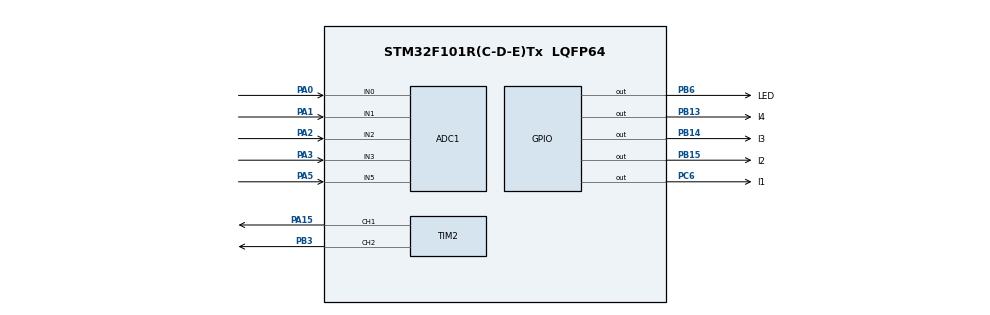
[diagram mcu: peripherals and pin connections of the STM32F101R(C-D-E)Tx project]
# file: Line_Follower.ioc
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ADC1.Channel-0\#ChannelRegularConversion=ADC_CHANNEL_0
ADC1.Channel-1\#ChannelRegularConversion=ADC_CHANNEL_1
ADC1.Channel-2\#ChannelRegularConversion=ADC_CHANNEL_2
ADC1.Channel-3\#ChannelRegularConversion=ADC_CHANNEL_3
ADC1.Channel-4\#ChannelRegularConversion=ADC_CHANNEL_5
ADC1.ContinuousConvMode=ENABLE
ADC1.NbrOfConversion=5
ADC1.NbrOfConversionFlag=1
ADC1.Rank-0\#ChannelRegularConversion=1
ADC1.Rank-1\#ChannelRegularConversion=2
ADC1.Rank-2\#ChannelRegularConversion=3
ADC1.Rank-3\#ChannelRegularConversion=4
ADC1.Rank-4\#ChannelRegularConversion=5
ADC1.SamplingTime-0\#ChannelRegularConversion=ADC_SAMPLETIME_28CYCLES_5
ADC1.SamplingTime-1\#ChannelRegularConversion=ADC_SAMPLETIME_28CYCLES_5
ADC1.SamplingTime-2\#ChannelRegularConversion=ADC_SAMPLETIME_28CYCLES_5
ADC1.SamplingTime-3\#ChannelRegularConversion=ADC_SAMPLETIME_28CYCLES_5
ADC1.SamplingTime-4\#ChannelRegularConversion=ADC_SAMPLETIME_28CYCLES_5
ADC1.master=1
Dma.ADC1.0.Direction=DMA_PERIPH_TO_MEMORY
Dma.ADC1.0.Instance=DMA1_Channel1
Dma.ADC1.0.MemDataAlignment=DMA_MDATAALIGN_HALFWORD
Dma.ADC1.0.MemInc=DMA_MINC_ENABLE
Dma.ADC1.0.Mode=DMA_CIRCULAR
Dma.ADC1.0.PeriphDataAlignment=DMA_PDATAALIGN_HALFWORD
Dma.ADC1.0.PeriphInc=DMA_PINC_DISABLE
Dma.ADC1.0.Priority=DMA_PRIORITY_LOW
Dma.Request0=ADC1
Mcu.Family=STM32F1
Mcu.Name=STM32F101R(C-D-E)Tx
Mcu.Package=LQFP64
NVIC.ADC1_IRQn=true\:0\:0\:false\:false\:true\:true\:true\:true
NVIC.DMA1_Channel1_IRQn=true\:0\:0\:false\:false\:true\:false\:true\:true
NVIC.PriorityGroup=NVIC_PRIORITYGROUP_4
PA0-WKUP.Signal=ADCx_IN0
PA1.Signal=ADCx_IN1
PA13.Mode=Serial_Wire
PA13.Signal=SYS_JTMS-SWDIO
PA14.Mode=Serial_Wire
PA14.Signal=SYS_JTCK-SWCLK
PA15.Signal=S_TIM2_CH1_ETR
PA2.Signal=ADCx_IN2
PA3.Signal=ADCx_IN3
PA5.Signal=ADCx_IN5
PB13.GPIO_Label=I4
PB13.Signal=GPIO_Output
PB14.GPIO_Label=I3
PB14.Signal=GPIO_Output
PB15.GPIO_Label=I2
PB15.Signal=GPIO_Output
PB3.Signal=S_TIM2_CH2
PB6.GPIO_Label=LED
PB6.Signal=GPIO_Output
PC6.GPIO_Label=I1
PC6.Signal=GPIO_Output
ProjectManager.HeapSize=0x200
ProjectManager.StackSize=0x400
ProjectManager.TargetToolchain=STM32CubeIDE
RCC.APB1Freq_Value=8000000
RCC.APB2Freq_Value=8000000
SH.ADCx_IN0.0=ADC1_IN0,IN0
SH.ADCx_IN1.0=ADC1_IN1,IN1
SH.ADCx_IN2.0=ADC1_IN2,IN2
SH.ADCx_IN3.0=ADC1_IN3,IN3
SH.ADCx_IN5.0=ADC1_IN5,IN5
SH.S_TIM2_CH1_ETR.0=TIM2_CH1,PWM Generation1 CH1
SH.S_TIM2_CH2.0=TIM2_CH2,PWM Generation2 CH2
TIM2.AutoReloadPreload=TIM_AUTORELOAD_PRELOAD_ENABLE
TIM2.Channel-PWM\ Generation1\ CH1=TIM_CHANNEL_1
TIM2.Channel-PWM\ Generation2\ CH2=TIM_CHANNEL_2
VP_TIM2_VS_ClockSourceINT.Mode=Internal
board=custom

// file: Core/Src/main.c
/* USER CODE BEGIN Header */
/**
  ******************************************************************************
  * @file           : main.c
  * @brief          : Main program body
  ******************************************************************************
  * @attention
  *
  * <h2><center>&copy; Copyright (c) 2022 STMicroelectronics.
  * All rights reserved.</center></h2>
  *
  * This software component is licensed by ST under BSD 3-Clause license,
  * the "License"; You may not use this file except in compliance with the
  * License. You may obtain a copy of the License at:
  *                        opensource.org/licenses/BSD-3-Clause
  *
  ******************************************************************************
  */
/* USER CODE END Header */
#include "main.h"

/* USER CODE BEGIN PTD */
#define PWM_MAX 10000/*65535*/

/* USER CODE END PTD */

ADC_HandleTypeDef hadc1;
DMA_HandleTypeDef hdma_adc1;

TIM_HandleTypeDef htim2;
int debug = 1;

void SystemClock_Config(void);
static void MX_GPIO_Init(void);
static void MX_ADC1_Init(void);
static void MX_DMA_Init(void);
static void MX_TIM2_Init(void);
/* USER CODE BEGIN PFP */

float measurement;
float pid_output;
/* USER CODE END PFP */

/* USER CODE BEGIN 0 */

uint16_t volatile adc[5];
//int setpoint = 0;

float 	fbPosition()
{

    		measurement  = -2.0 * 	(float)adc[0];
    		measurement += -1.0 * 	(float)adc[1];
    		measurement +=  1.0 * 	(float)adc[3];
    		measurement +=  2.0 *	(float)adc[4];
	return 	measurement;
}

typedef struct {
	float Kp;
	float Kd;

	float prevError;
	float differentiator;
	float prevMeasurement;

	float out;

}PIDController;

PIDController pid;

void 	PIDController_Init(PIDController *pid)
{
	pid->prevError  = 0.0f;

	pid->differentiator  = 0.0f;
	pid->prevMeasurement = 0.0f;

	pid->out = 0.0f;

	pid->Kp = 6.0;
	pid->Kd = 1.0;
}
float 	PIDController_Update(PIDController *pid, float setpoint, float fbPosition)
{
	float error = setpoint - fbPosition;

    pid->differentiator = pid->Kd*(error-pid->prevError);

	pid->out = pid->Kp * error + pid->differentiator;

	pid->prevError = error;
	pid->prevMeasurement = fbPosition;

    return pid->out;
}

int leftMotor(float leftPWM)// PID output
{

	if( leftPWM < -16000){
	HAL_GPIO_WritePin(I1_GPIO_Port, I1_Pin, GPIO_PIN_RESET);
	HAL_GPIO_WritePin(I2_GPIO_Port, I2_Pin, GPIO_PIN_SET);
	leftPWM = -0.1 * (PWM_MAX - leftPWM);
	if( PWM_MAX < leftPWM) leftPWM = 0.1* PWM_MAX;
	if(-PWM_MAX > leftPWM) leftPWM = -0.1* PWM_MAX;

	}else{
	HAL_GPIO_WritePin(I1_GPIO_Port, I1_Pin, GPIO_PIN_SET);
	HAL_GPIO_WritePin(I2_GPIO_Port, I2_Pin, GPIO_PIN_RESET);
	leftPWM = PWM_MAX - leftPWM;
	if( PWM_MAX < leftPWM) leftPWM =  PWM_MAX;
	if(-PWM_MAX > leftPWM) leftPWM = -PWM_MAX;
	}

	return (int)leftPWM;
}

int rightMotor(float rightPWM)
{
	if( leftPWM > 16000){
	HAL_GPIO_WritePin(I1_GPIO_Port, I4_Pin, GPIO_PIN_RESET);
	HAL_GPIO_WritePin(I2_GPIO_Port, I3_Pin, GPIO_PIN_SET);
	rightPWM = -0.1 * (PWM_MAX - rightPWM);
	if( PWM_MAX < rightPWM) rightPWM = 0.1* PWM_MAX;
	if(-PWM_MAX > rightPWM) rightPWM = -0.1* PWM_MAX;

	}else{
	HAL_GPIO_WritePin(I1_GPIO_Port, I4_Pin, GPIO_PIN_SET);
	HAL_GPIO_WritePin(I2_GPIO_Port, I3_Pin, GPIO_PIN_RESET);
	rightPWM = PWM_MAX + rightPWM;
	if( PWM_MAX < rightPWM) rightPWM =  PWM_MAX;
	if(-PWM_MAX > rightPWM) rightPWM = -PWM_MAX;
	}

	return (int)rightPWM;
}

void motors(int leftMotor, int rightMotor)
{
	__HAL_TIM_SET_COMPARE(&htim2, TIM_CHANNEL_1, leftMotor);
	__HAL_TIM_SET_COMPARE(&htim2, TIM_CHANNEL_2, rightMotor);
}
/* USER CODE END 0 */

int main(void)
{

  /* MCU Configuration--------------------------------------------------------*/

  /* Reset of all peripherals, Initializes the Flash interface and the Systick. */
  HAL_Init();

  /* Configure the system clock */
  SystemClock_Config();

  /* Initialize all configured peripherals */
  MX_GPIO_Init();
  MX_ADC1_Init();
  MX_DMA_Init();
  MX_TIM2_Init();
  /* USER CODE BEGIN 2 */
  HAL_DMA_Init(&hdma_adc1);
  HAL_ADC_Start_DMA(&hadc1, (uint32_t*) adc, 5);
  HAL_ADC_Start(&hadc1);
  HAL_TIM_Base_Start(&htim2);
  HAL_TIM_PWM_Start(&htim2, TIM_CHANNEL_1);
  HAL_TIM_PWM_Start(&htim2, TIM_CHANNEL_2);
  PIDController_Init(&pid);
  /* USER CODE END 2 */

  /* Infinite loop */
  /* USER CODE BEGIN WHILE */
  while (1)
  {
	 HAL_GPIO_WritePin(LED_GPIO_Port, LED_Pin, GPIO_PIN_RESET);
	 float pid_output = PIDController_Update(&pid, 0.0, fbPosition());
	 if (debug == 1)  motors(leftMotor(pid_output),rightMotor(pid_output));

    /* USER CODE END WHILE */

  }
}

void SystemClock_Config(void)
{
  RCC_OscInitTypeDef RCC_OscInitStruct = {0};
  RCC_ClkInitTypeDef RCC_ClkInitStruct = {0};
  RCC_PeriphCLKInitTypeDef PeriphClkInit = {0};

  /** Initializes the RCC Oscillators according to the specified parameters
  * in the RCC_OscInitTypeDef structure.
  */
  RCC_OscInitStruct.OscillatorType = RCC_OSCILLATORTYPE_HSI;
  RCC_OscInitStruct.HSIState = RCC_HSI_ON;
  RCC_OscInitStruct.HSICalibrationValue = RCC_HSICALIBRATION_DEFAULT;
  RCC_OscInitStruct.PLL.PLLState = RCC_PLL_NONE;
  if (HAL_RCC_OscConfig(&RCC_OscInitStruct) != HAL_OK)
  {
    Error_Handler();
  }

  /** Initializes the CPU, AHB and APB buses clocks
  */
  RCC_ClkInitStruct.ClockType = RCC_CLOCKTYPE_HCLK|RCC_CLOCKTYPE_SYSCLK
                              |RCC_CLOCKTYPE_PCLK1|RCC_CLOCKTYPE_PCLK2;
  RCC_ClkInitStruct.SYSCLKSource = RCC_SYSCLKSOURCE_HSI;
  RCC_ClkInitStruct.AHBCLKDivider = RCC_SYSCLK_DIV1;
  RCC_ClkInitStruct.APB1CLKDivider = RCC_HCLK_DIV1;
  RCC_ClkInitStruct.APB2CLKDivider = RCC_HCLK_DIV1;

  if (HAL_RCC_ClockConfig(&RCC_ClkInitStruct, FLASH_LATENCY_0) != HAL_OK)
  {
    Error_Handler();
  }
  PeriphClkInit.PeriphClockSelection = RCC_PERIPHCLK_ADC;
  PeriphClkInit.AdcClockSelection = RCC_ADCPCLK2_DIV2;
  if (HAL_RCCEx_PeriphCLKConfig(&PeriphClkInit) != HAL_OK)
  {
    Error_Handler();
  }
}

static void MX_ADC1_Init(void)
{

  ADC_ChannelConfTypeDef sConfig = {0};

  /** Common config
  */
  hadc1.Instance = ADC1;
  hadc1.Init.ScanConvMode = ADC_SCAN_ENABLE;
  hadc1.Init.ContinuousConvMode = ENABLE;
  hadc1.Init.DiscontinuousConvMode = DISABLE;
  hadc1.Init.ExternalTrigConv = ADC_SOFTWARE_START;
  hadc1.Init.DataAlign = ADC_DATAALIGN_RIGHT;
  hadc1.Init.NbrOfConversion = 5;
  if (HAL_ADC_Init(&hadc1) != HAL_OK)
  {
    Error_Handler();
  }

  /** Configure Regular Channel
  */
  sConfig.Channel = ADC_CHANNEL_0;
  sConfig.Rank = ADC_REGULAR_RANK_1;
  sConfig.SamplingTime = ADC_SAMPLETIME_28CYCLES_5;
  if (HAL_ADC_ConfigChannel(&hadc1, &sConfig) != HAL_OK)
  {
    Error_Handler();
  }

  /** Configure Regular Channel
  */
  sConfig.Channel = ADC_CHANNEL_1;
  sConfig.Rank = ADC_REGULAR_RANK_2;
  if (HAL_ADC_ConfigChannel(&hadc1, &sConfig) != HAL_OK)
  {
    Error_Handler();
  }

  /** Configure Regular Channel
  */
  sConfig.Channel = ADC_CHANNEL_2;
  sConfig.Rank = ADC_REGULAR_RANK_3;
  if (HAL_ADC_ConfigChannel(&hadc1, &sConfig) != HAL_OK)
  {
    Error_Handler();
  }

  /** Configure Regular Channel
  */
  sConfig.Channel = ADC_CHANNEL_3;
  sConfig.Rank = ADC_REGULAR_RANK_4;
  if (HAL_ADC_ConfigChannel(&hadc1, &sConfig) != HAL_OK)
  {
    Error_Handler();
  }

  /** Configure Regular Channel
  */
  sConfig.Channel = ADC_CHANNEL_5;
  sConfig.Rank = ADC_REGULAR_RANK_5;
  if (HAL_ADC_ConfigChannel(&hadc1, &sConfig) != HAL_OK)
  {
    Error_Handler();
  }

}

static void MX_TIM2_Init(void)
{

  TIM_ClockConfigTypeDef sClockSourceConfig = {0};
  TIM_MasterConfigTypeDef sMasterConfig = {0};
  TIM_OC_InitTypeDef sConfigOC = {0};

  htim2.Instance = TIM2;
  htim2.Init.Prescaler = 0;
  htim2.Init.CounterMode = TIM_COUNTERMODE_UP;
  htim2.Init.Period = 65535;
  htim2.Init.ClockDivision = TIM_CLOCKDIVISION_DIV1;
  htim2.Init.AutoReloadPreload = TIM_AUTORELOAD_PRELOAD_ENABLE;
  if (HAL_TIM_Base_Init(&htim2) != HAL_OK)
  {
    Error_Handler();
  }
  sClockSourceConfig.ClockSource = TIM_CLOCKSOURCE_INTERNAL;
  if (HAL_TIM_ConfigClockSource(&htim2, &sClockSourceConfig) != HAL_OK)
  {
    Error_Handler();
  }
  if (HAL_TIM_PWM_Init(&htim2) != HAL_OK)
  {
    Error_Handler();
  }
  sMasterConfig.MasterOutputTrigger = TIM_TRGO_RESET;
  sMasterConfig.MasterSlaveMode = TIM_MASTERSLAVEMODE_DISABLE;
  if (HAL_TIMEx_MasterConfigSynchronization(&htim2, &sMasterConfig) != HAL_OK)
  {
    Error_Handler();
  }
  sConfigOC.OCMode = TIM_OCMODE_PWM1;
  sConfigOC.Pulse = 0;
  sConfigOC.OCPolarity = TIM_OCPOLARITY_HIGH;
  sConfigOC.OCFastMode = TIM_OCFAST_DISABLE;
  if (HAL_TIM_PWM_ConfigChannel(&htim2, &sConfigOC, TIM_CHANNEL_1) != HAL_OK)
  {
    Error_Handler();
  }
  if (HAL_TIM_PWM_ConfigChannel(&htim2, &sConfigOC, TIM_CHANNEL_2) != HAL_OK)
  {
    Error_Handler();
  }
  HAL_TIM_MspPostInit(&htim2);

}

static void MX_DMA_Init(void)
{

  /* DMA controller clock enable */
  __HAL_RCC_DMA1_CLK_ENABLE();

  /* DMA interrupt init */
  /* DMA1_Channel1_IRQn interrupt configuration */
  HAL_NVIC_SetPriority(DMA1_Channel1_IRQn, 0, 0);
  HAL_NVIC_EnableIRQ(DMA1_Channel1_IRQn);

}

static void MX_GPIO_Init(void)
{
  GPIO_InitTypeDef GPIO_InitStruct = {0};

  /* GPIO Ports Clock Enable */
  __HAL_RCC_GPIOA_CLK_ENABLE();
  __HAL_RCC_GPIOB_CLK_ENABLE();
  __HAL_RCC_GPIOC_CLK_ENABLE();

  /*Configure GPIO pin Output Level */
  HAL_GPIO_WritePin(GPIOB, I4_Pin|I3_Pin|I2_Pin|LED_Pin, GPIO_PIN_RESET);

  /*Configure GPIO pin Output Level */
  HAL_GPIO_WritePin(I1_GPIO_Port, I1_Pin, GPIO_PIN_RESET);

  /*Configure GPIO pins : I4_Pin I3_Pin I2_Pin LED_Pin */
  GPIO_InitStruct.Pin = I4_Pin|I3_Pin|I2_Pin|LED_Pin;
  GPIO_InitStruct.Mode = GPIO_MODE_OUTPUT_PP;
  GPIO_InitStruct.Pull = GPIO_NOPULL;
  GPIO_InitStruct.Speed = GPIO_SPEED_FREQ_LOW;
  HAL_GPIO_Init(GPIOB, &GPIO_InitStruct);

  /*Configure GPIO pin : I1_Pin */
  GPIO_InitStruct.Pin = I1_Pin;
  GPIO_InitStruct.Mode = GPIO_MODE_OUTPUT_PP;
  GPIO_InitStruct.Pull = GPIO_NOPULL;
  GPIO_InitStruct.Speed = GPIO_SPEED_FREQ_LOW;
  HAL_GPIO_Init(I1_GPIO_Port, &GPIO_InitStruct);

}

void Error_Handler(void)
{
  __disable_irq();
  while (1)
  {
  }
}
